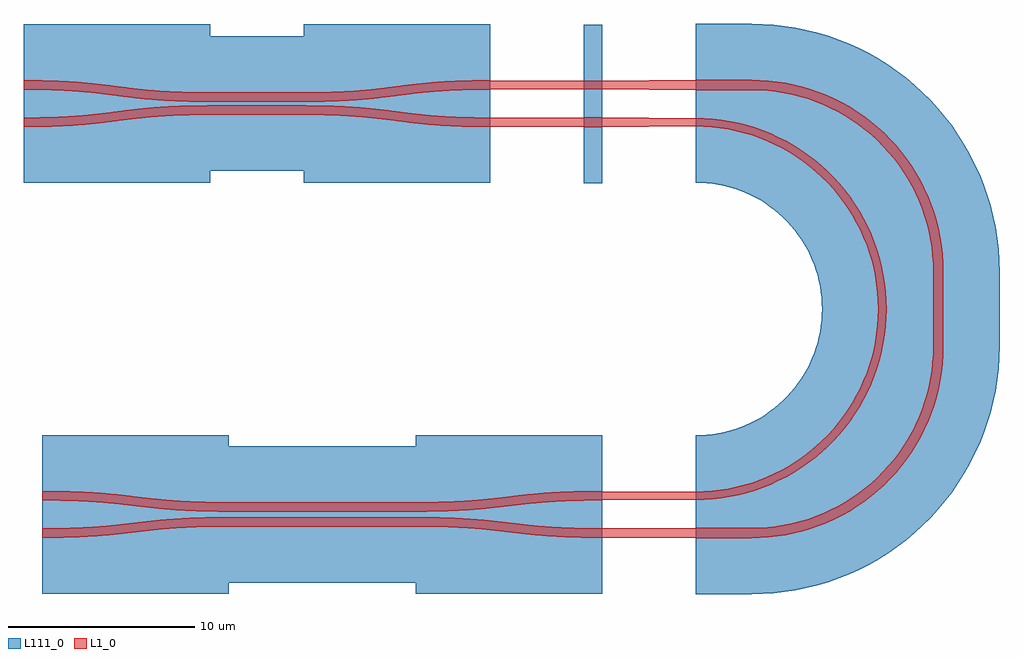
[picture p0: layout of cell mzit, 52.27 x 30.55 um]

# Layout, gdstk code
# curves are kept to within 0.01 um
import gdstk
lib = gdstk.Library(unit=1e-6, precision=1e-09)
def R(c, l, rs):  # rectangles x0, y0, x1, y1
    for r in rs: c.add(gdstk.rectangle(r[:2], r[2:], *l))
def P(c, l, *ps):  # polygons
    for p in ps: c.add(gdstk.Polygon(p, *l))
L1_0 = (1, 0)
L111_0 = (111, 0)

mzit = lib.new_cell('mzit')
R(mzit, L1_0, [(25,-0.625,28,-0.075), (0,0,10,0.5), (0,0.8,10,1.3), (37.725,9.65,38.275,13.65), (19,21.375,20,21.925), (-1,22.05,4,22.55), (-1,22.75,4,23.25), (25,23.375,28,23.925), (19,23.425,20,23.875)])
P(mzit, L1_0, [(0,0),(-1.378,-0.017),(-2.807,-0.083),(-3.956,-0.182),(-6.244,-0.441),(-7.361,-0.529),(-8.735,-0.586),(-10,-0.6),(-10,-0.1),(-8.622,-0.083),(-7.193,-0.017),(-6.044,0.082),(-3.756,0.341),(-2.639,0.429),(-1.265,0.486),(0,0.5)],
  [(0,1.3),(-1.378,1.317),(-2.807,1.383),(-3.956,1.482),(-6.244,1.741),(-7.361,1.829),(-8.735,1.886),(-10,1.9),(-10,1.4),(-8.622,1.383),(-7.193,1.317),(-6.044,1.218),(-3.756,0.959),(-2.639,0.871),(-1.265,0.814),(0,0.8)],
  [(10,1.3),(11.378,1.317),(12.807,1.383),(13.956,1.482),(16.244,1.741),(17.361,1.829),(18.735,1.886),(20,1.9),(20,1.4),(18.622,1.383),(17.193,1.317),(16.044,1.218),(13.756,0.959),(12.639,0.871),(11.265,0.814),(10,0.8)],
  [(10,0),(11.378,-0.017),(12.807,-0.083),(13.956,-0.182),(16.244,-0.441),(17.361,-0.529),(18.735,-0.586),(20,-0.6),(20,-0.1),(18.622,-0.083),(17.193,-0.017),(16.044,0.082),(13.756,0.341),(12.639,0.429),(11.265,0.486),(10,0.5)],
  [(20,1.9),(25,1.875),(25,1.425),(20,1.4)],
  [(25,21.425),(25.876,21.386),(26.312,21.337),(26.745,21.268),(27.601,21.073),(28.435,20.802),(29.241,20.457),(29.632,20.258),(30.385,19.808),(31.095,19.292),(31.755,18.715),(32.361,18.081),(32.908,17.396),(33.391,16.664),(33.608,16.282),(33.807,15.891),(34.152,15.085),(34.297,14.671),(34.53,13.825),(34.687,12.962),(34.736,12.526),(34.775,11.65),(35.225,11.65),(35.215,12.109),(35.184,12.567),(35.061,13.476),(34.969,13.925),(34.857,14.37),(34.725,14.81),(34.573,15.243),(34.402,15.669),(34.004,16.495),(33.778,16.894),(33.534,17.283),(32.994,18.025),(32.391,18.716),(32.066,19.041),(31.375,19.644),(31.01,19.922),(30.633,20.184),(30.244,20.428),(29.845,20.654),(29.019,21.052),(28.593,21.223),(28.16,21.375),(27.72,21.507),(27.275,21.619),(26.826,21.711),(25.917,21.834),(25.459,21.865),(25,21.875)],
  [(34.775,11.65),(34.736,10.774),(34.687,10.338),(34.618,9.905),(34.423,9.049),(34.152,8.215),(33.807,7.409),(33.608,7.018),(33.158,6.265),(32.642,5.555),(32.065,4.895),(31.431,4.289),(30.746,3.742),(30.014,3.259),(29.632,3.042),(29.241,2.843),(28.435,2.498),(28.021,2.353),(27.175,2.12),(26.312,1.963),(25.876,1.914),(25,1.875),(25,1.425),(25.459,1.435),(25.917,1.466),(26.826,1.589),(27.275,1.681),(27.72,1.793),(28.16,1.925),(28.593,2.077),(29.019,2.248),(29.845,2.646),(30.244,2.872),(30.633,3.116),(31.375,3.656),(32.066,4.259),(32.391,4.584),(32.994,5.275),(33.272,5.64),(33.534,6.017),(33.778,6.406),(34.004,6.805),(34.402,7.631),(34.573,8.057),(34.725,8.49),(34.857,8.93),(34.969,9.375),(35.061,9.824),(35.184,10.733),(35.215,11.191),(35.225,11.65)],
  [(25,21.425),(20,21.375),(20,21.925),(25,21.875)],
  [(19,21.375),(14,21.4),(14,21.9),(19,21.925)],
  [(20,-0.1),(25,-0.075),(25,-0.625),(20,-0.6)],
  [(28,23.375),(28.872,23.336),(29.736,23.219),(30.587,23.025),(31.417,22.755),(32.22,22.412),(32.988,21.998),(33.716,21.518),(34.398,20.974),(34.721,20.679),(35.324,20.048),(35.868,19.366),(36.348,18.638),(36.762,17.87),(37.105,17.067),(37.375,16.237),(37.481,15.814),(37.569,15.386),(37.686,14.522),(37.725,13.65),(38.275,13.65),(38.265,14.111),(38.234,14.571),(38.182,15.029),(38.11,15.485),(37.905,16.384),(37.62,17.26),(37.448,17.688),(37.257,18.108),(37.048,18.519),(36.821,18.92),(36.313,19.689),(35.738,20.41),(35.427,20.751),(35.101,21.077),(34.76,21.388),(34.039,21.963),(33.27,22.471),(32.869,22.698),(32.458,22.907),(32.038,23.098),(31.61,23.27),(31.175,23.422),(30.734,23.555),(29.835,23.76),(29.379,23.832),(28.921,23.884),(28.461,23.915),(28,23.925)],
  [(37.725,9.65),(37.686,8.778),(37.569,7.914),(37.375,7.063),(37.105,6.233),(36.762,5.43),(36.348,4.662),(35.868,3.934),(35.324,3.252),(35.029,2.929),(34.398,2.326),(33.716,1.782),(32.988,1.302),(32.22,0.888),(31.417,0.545),(30.587,0.275),(30.164,0.169),(29.736,0.081),(28.872,-0.036),(28,-0.075),(28,-0.625),(28.461,-0.615),(28.921,-0.584),(29.379,-0.532),(29.835,-0.46),(30.734,-0.255),(31.61,0.03),(32.038,0.202),(32.458,0.393),(32.869,0.602),(33.27,0.829),(34.039,1.337),(34.76,1.912),(35.101,2.223),(35.427,2.549),(35.738,2.89),(36.313,3.611),(36.821,4.38),(37.048,4.781),(37.257,5.192),(37.448,5.612),(37.62,6.04),(37.772,6.475),(37.905,6.916),(38.11,7.815),(38.182,8.271),(38.234,8.729),(38.265,9.189),(38.275,9.65)],
  [(25,23.375),(20,23.425),(20,23.875),(25,23.925)],
  [(19,23.425),(14,23.4),(14,23.9),(19,23.875)],
  [(-1,22.05),(-2.621,22.023),(-3.902,21.953),(-5.035,21.844),(-7.157,21.582),(-8.36,21.477),(-9.608,21.419),(-11,21.4),(-11,21.9),(-9.379,21.927),(-8.098,21.997),(-6.965,22.106),(-4.843,22.368),(-3.64,22.473),(-2.392,22.531),(-1,22.55)],
  [(-1,23.25),(-2.621,23.277),(-3.902,23.347),(-5.035,23.456),(-7.157,23.718),(-8.36,23.823),(-9.608,23.881),(-11,23.9),(-11,23.4),(-9.379,23.373),(-8.098,23.303),(-6.965,23.194),(-4.843,22.932),(-3.64,22.827),(-2.392,22.769),(-1,22.75)],
  [(4,23.25),(5.621,23.277),(6.902,23.347),(8.035,23.456),(10.157,23.718),(11.36,23.823),(12.608,23.881),(14,23.9),(14,23.4),(12.379,23.373),(11.098,23.303),(9.965,23.194),(7.843,22.932),(6.64,22.827),(5.392,22.769),(4,22.75)],
  [(4,22.05),(5.621,22.023),(6.902,21.953),(8.035,21.844),(10.157,21.582),(11.36,21.477),(12.608,21.419),(14,21.4),(14,21.9),(12.379,21.927),(11.098,21.997),(9.965,22.106),(7.843,22.368),(6.64,22.473),(5.392,22.531),(4,22.55)])
R(mzit, L111_0, [(25,-3.625,28,2.925), (-10,-3.6,0,3.5), (10,-3.6,20,3.5), (0,-3,10,4.3), (-10,-2.2,0,4.9), (10,-2.2,20,4.9), (34.725,9.65,41.275,13.65), (19,18.375,20,24.925), (-11,18.4,-1,25.55), (4,18.4,14,25.55), (-1,19.05,4,26.25), (-11,19.75,-1,26.9), (4,19.75,14,26.9), (25,20.375,28,26.925), (19,20.425,20,26.875)])
P(mzit, L111_0, [(25,18.425),(25.607,18.398),(26.21,18.316),(26.802,18.181),(27.381,17.993),(27.663,17.88),(28.21,17.616),(28.732,17.304),(29.224,16.947),(29.682,16.547),(30.102,16.108),(30.481,15.632),(30.816,15.125),(31.104,14.59),(31.23,14.313),(31.343,14.031),(31.531,13.452),(31.666,12.86),(31.748,12.257),(31.775,11.65),(38.225,11.65),(38.212,12.243),(38.172,12.835),(38.105,13.425),(38.012,14.011),(37.893,14.593),(37.748,15.168),(37.578,15.737),(37.382,16.297),(37.161,16.848),(36.915,17.388),(36.646,17.917),(36.353,18.433),(36.037,18.936),(35.699,19.423),(35.34,19.896),(34.959,20.351),(34.559,20.789),(34.139,21.209),(33.701,21.609),(33.246,21.99),(32.773,22.349),(32.286,22.687),(31.783,23.003),(31.267,23.296),(30.738,23.565),(30.198,23.811),(29.647,24.032),(29.087,24.228),(28.518,24.398),(27.943,24.543),(27.361,24.662),(26.775,24.755),(26.185,24.822),(25.593,24.862),(25,24.875)],
  [(31.775,11.65),(31.748,11.043),(31.666,10.44),(31.531,9.848),(31.343,9.269),(31.23,8.987),(30.966,8.44),(30.654,7.918),(30.297,7.426),(29.897,6.968),(29.458,6.548),(28.982,6.169),(28.475,5.834),(27.94,5.546),(27.663,5.42),(27.381,5.307),(26.802,5.119),(26.21,4.984),(25.607,4.902),(25,4.875),(25,-1.575),(25.593,-1.562),(26.185,-1.522),(26.775,-1.455),(27.361,-1.362),(27.943,-1.243),(28.518,-1.098),(29.087,-0.928),(29.647,-0.732),(30.198,-0.511),(30.738,-0.265),(31.267,0.004),(31.783,0.297),(32.286,0.613),(32.773,0.951),(33.246,1.31),(33.701,1.691),(34.139,2.091),(34.559,2.511),(34.959,2.949),(35.34,3.404),(35.699,3.877),(36.037,4.364),(36.353,4.867),(36.646,5.383),(36.915,5.912),(37.161,6.452),(37.382,7.003),(37.578,7.563),(37.748,8.132),(37.893,8.707),(38.012,9.289),(38.105,9.875),(38.172,10.465),(38.212,11.057),(38.225,11.65)],
  [(28,20.375),(28.603,20.348),(29.201,20.267),(29.789,20.133),(30.078,20.046),(30.643,19.834),(31.187,19.572),(31.705,19.263),(32.193,18.908),(32.647,18.511),(32.861,18.297),(33.258,17.843),(33.613,17.355),(33.922,16.837),(34.184,16.293),(34.396,15.728),(34.483,15.439),(34.617,14.851),(34.698,14.253),(34.725,13.65),(41.275,13.65),(41.262,14.246),(41.222,14.84),(41.155,15.432),(41.062,16.02),(40.942,16.604),(40.797,17.182),(40.625,17.752),(40.429,18.315),(40.207,18.867),(39.96,19.41),(39.69,19.941),(39.396,20.459),(39.079,20.963),(38.74,21.453),(38.379,21.927),(37.997,22.384),(37.595,22.824),(37.174,23.245),(36.734,23.647),(36.277,24.029),(35.803,24.39),(35.313,24.729),(34.809,25.046),(34.291,25.34),(33.76,25.61),(33.217,25.857),(32.665,26.079),(32.102,26.275),(31.532,26.447),(30.954,26.592),(30.37,26.712),(29.782,26.805),(29.19,26.872),(28.596,26.912),(28,26.925)],
  [(34.725,9.65),(34.698,9.047),(34.617,8.449),(34.483,7.861),(34.396,7.572),(34.184,7.007),(33.922,6.463),(33.613,5.945),(33.258,5.457),(32.861,5.003),(32.647,4.789),(32.193,4.392),(31.705,4.037),(31.187,3.728),(30.643,3.466),(30.078,3.254),(29.789,3.167),(29.201,3.033),(28.603,2.952),(28,2.925),(28,-3.625),(28.596,-3.612),(29.19,-3.572),(29.782,-3.505),(30.37,-3.412),(30.954,-3.292),(31.532,-3.147),(32.102,-2.975),(32.665,-2.779),(33.217,-2.557),(33.76,-2.31),(34.291,-2.04),(34.809,-1.746),(35.313,-1.429),(35.803,-1.09),(36.277,-0.729),(36.734,-0.347),(37.174,0.055),(37.595,0.476),(37.997,0.916),(38.379,1.373),(38.74,1.847),(39.079,2.337),(39.396,2.841),(39.69,3.359),(39.96,3.89),(40.207,4.433),(40.429,4.985),(40.625,5.548),(40.797,6.118),(40.942,6.696),(41.062,7.28),(41.155,7.868),(41.222,8.46),(41.262,9.054),(41.275,9.65)])

lib.write_gds('mzit.gds')
